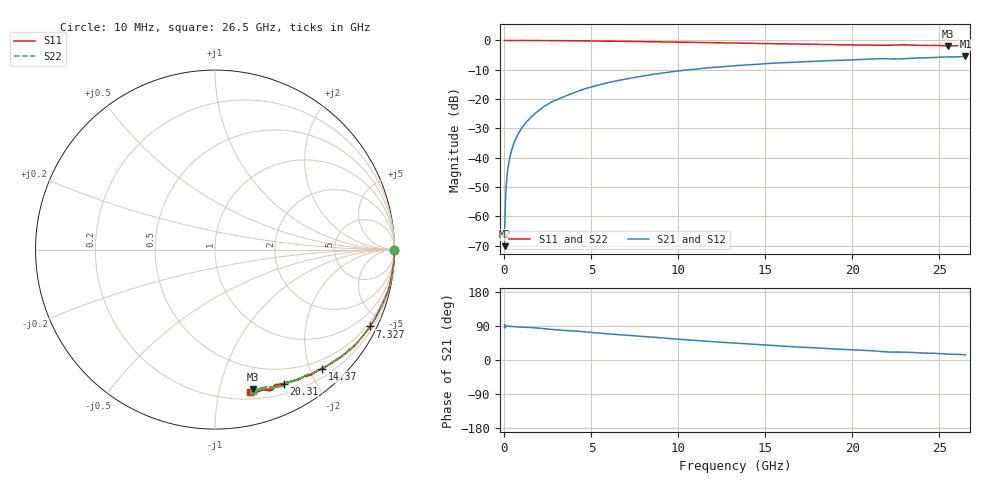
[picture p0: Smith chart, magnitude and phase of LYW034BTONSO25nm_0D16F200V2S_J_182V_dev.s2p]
!Keysight Technologies,N5222B,MY61253708,A.15.00.15
!Date: Wednesday, June 19, 2024 10:31:26
!Correction: S11(C  2-Port  )
!S21(C  2-Port  )
!S12(C  2-Port  )
!S22(C  2-Port  )
!S2P File: Measurements: S11, S21, S12, S22:
# Hz S  RI  R 50
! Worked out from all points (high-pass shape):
!   2651 points, 10 MHz to 26.5 GHz, reference 50 ohm
!   highest |S21| = -5.46 dB at 26.5 GHz (marker M1); lowest = -70.2 dB at 10 MHz (marker M2)
!   |S21| within 3 dB of the highest: 13.63483 GHz to 13.66827 GHz (33.44 MHz wide, 0.245 % of centre); 13.69 GHz to end of sweep
!   lowest |S11| = -1.9 dB at 25.5 GHz (marker M3), VSWR 9.32, Z = 14.3 - j63.5 ohm
!   |S11| at or under -10 dB: nowhere
!   |S22| runs from -1.8 to 0.0 dB; largest |S21 - S12| = 0.0066
!   S11 on the Smith chart (normalised r, x): 10 MHz: open; 7.327 GHz: 0.35, -4.24; 14.37 GHz: 0.34, -2.20; 20.31 GHz: 0.32, -1.59; 26.5 GHz: 0.26, -1.24
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1e7  0.9985 -0.00323  -2.05e-05 0.000307  -7.58e-05 0.000227  0.9985 -0.00204
7.997358e7  0.9999 -0.00566  -5.71e-06 0.00257  1.35e-05 0.00257  0.9994 -0.00513
1.499472e8  1 -0.0107  4.39e-05 0.00486  2.68e-05 0.00486  0.9996 -0.00991
1.899321e8  1 -0.0126  6.8e-05 0.00614  6.27e-05 0.00616  0.9999 -0.0116
2.499094e8  0.9995 -0.0168  0.000128 0.00809  0.000118 0.0081  0.9995 -0.0158
3.498717e8  0.9997 -0.0235  0.000305 0.0113  0.00025 0.0113  0.9997 -0.0223
4.798226e8  0.9986 -0.032  0.00048 0.0155  0.000462 0.0155  0.9981 -0.0307
6.29766e8  0.9988 -0.0412  0.000844 0.0203  0.00084 0.0203  0.9986 -0.0399
8.196943e8  0.9979 -0.0538  0.00135 0.0263  0.00135 0.0264  0.9978 -0.0522
1.449457e9  0.9912 -0.0957  0.00326 0.0467  0.00328 0.0467  0.9934 -0.0914
2.339121e9  0.9824 -0.1495  0.0095 0.0762  0.00968 0.0764  0.9838 -0.1489
3.218789e9  0.972 -0.2049  0.0202 0.1019  0.0203 0.1022  0.9732 -0.2026
4.428332e9  0.9449 -0.2762  0.0366 0.1386  0.0368 0.1389  0.9472 -0.2721
7.327238e9  0.8638 -0.4284  0.0994 0.2068  0.1002 0.207  0.8663 -0.4254
8.846664e9  0.8099 -0.497  0.1397 0.2333  0.1407 0.2334  0.8129 -0.4931
1.3255e10  0.6377 -0.6392  0.2643 0.2596  0.266 0.259  0.644 -0.6355
1.437458e10  0.596 -0.6645  0.2933 0.2565  0.2945 0.2561  0.602 -0.6582
1.767333e10  0.4675 -0.7217  0.37 0.2348  0.3727 0.2329  0.4813 -0.7172
2.031234e10  0.3819 -0.7463  0.4212 0.2091  0.4238 0.2055  0.3993 -0.745
2.209166e10  0.3322 -0.7578  0.4537 0.1751  0.4549 0.1723  0.3303 -0.7627
2.550038e10  0.2122 -0.7777  0.5039 0.1397  0.505 0.1394  0.2369 -0.7797
2.65e10  0.1929 -0.7924  0.5175 0.1289  0.5165 0.125  0.2104 -0.7902
